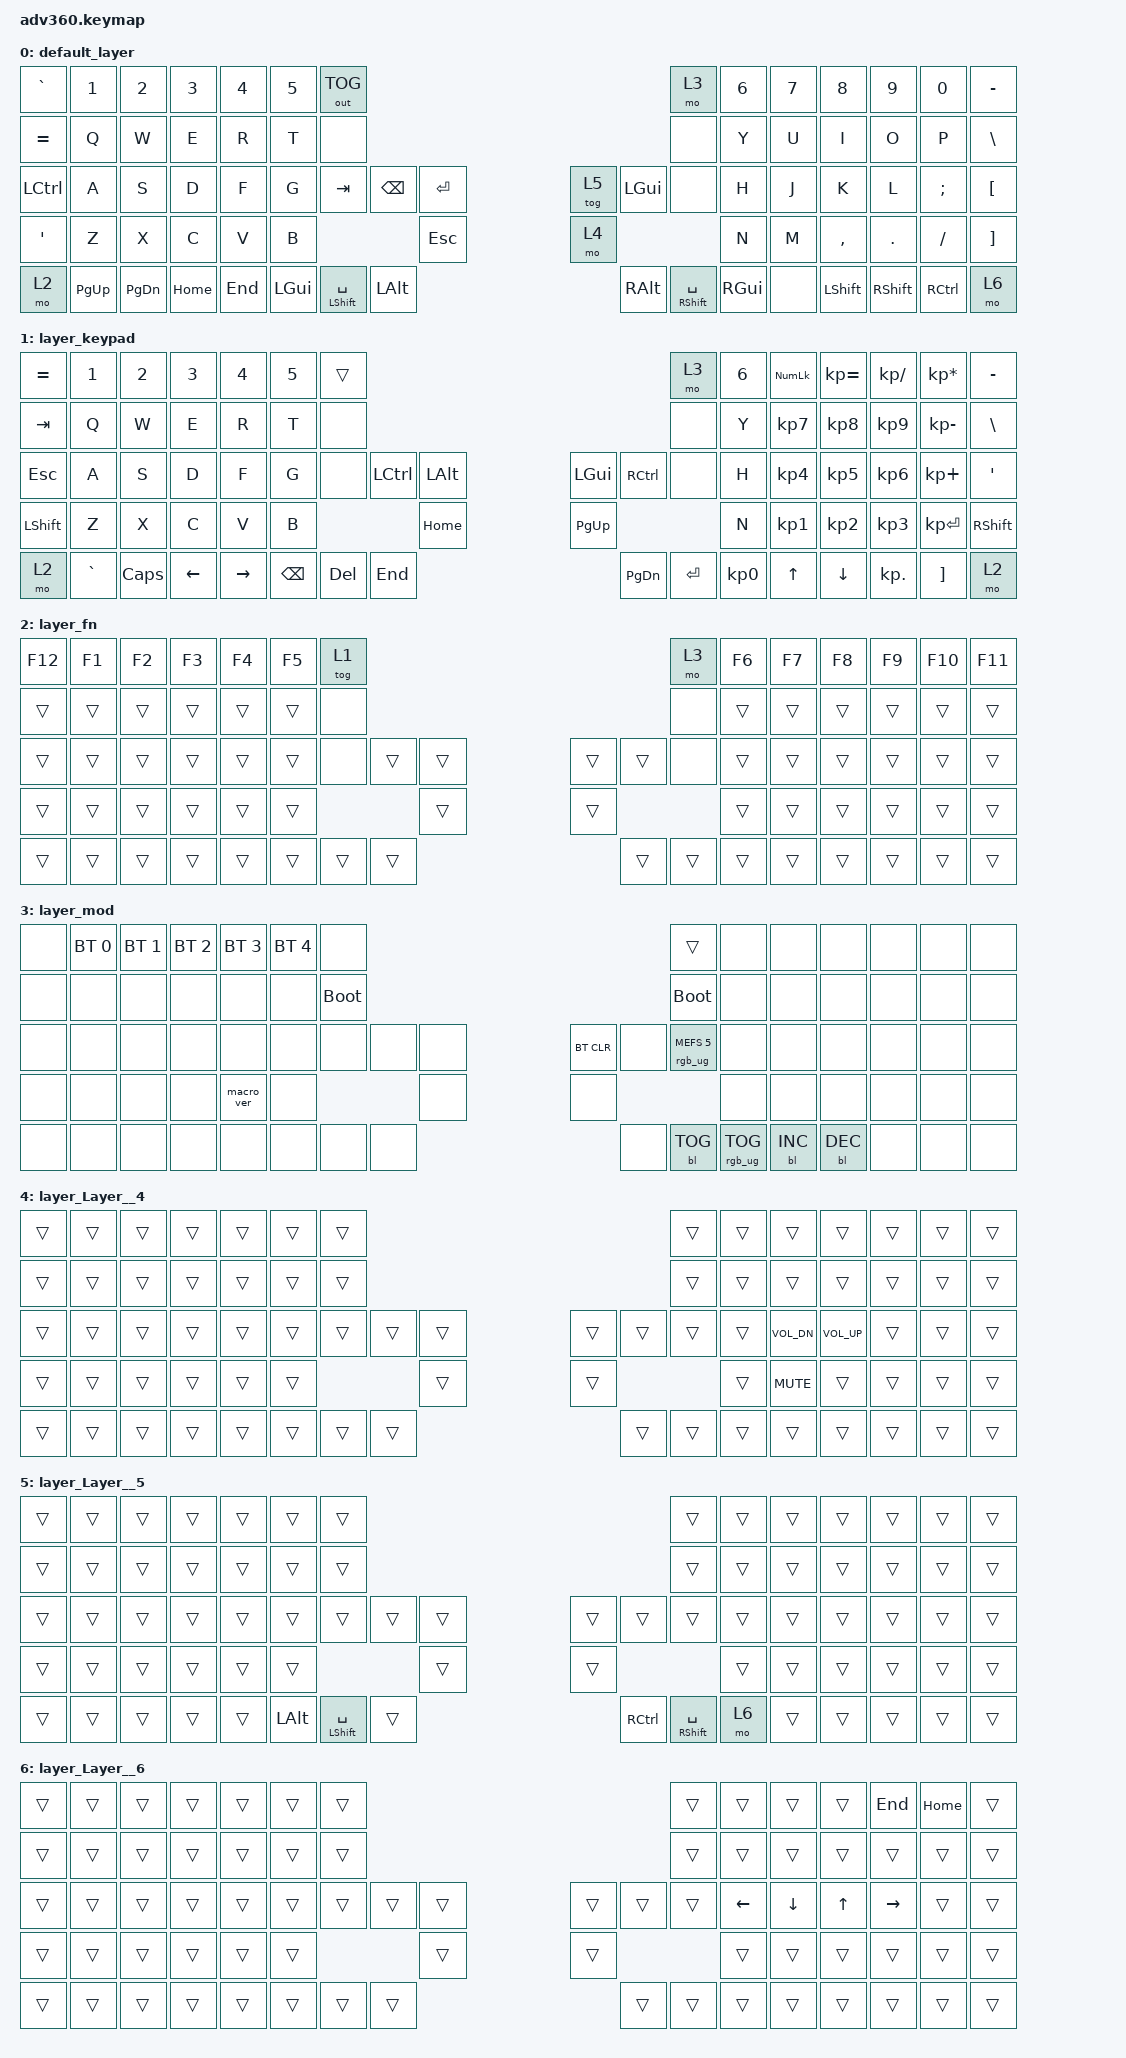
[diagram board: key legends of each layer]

/*
 * Copyright (c) 2020 The ZMK Contributors
 *
 * SPDX-License-Identifier: MIT
 */


/* THIS FILE WAS GENERATED!
 *
 * This file was generated automatically. You may or may not want to
 * edit it directly.
 */

#include <behaviors.dtsi>
#include <dt-bindings/zmk/keys.h>
#include <dt-bindings/zmk/outputs.h>
#include <dt-bindings/zmk/bt.h>
#include <dt-bindings/zmk/rgb.h>
#include <dt-bindings/zmk/backlight.h>

/ {
  behaviors {
    #include "macros.dtsi"
    #include "version.dtsi"

    hm: homerow_mods {
        compatible = "zmk,behavior-hold-tap";
        label = "HOMEROW_MODS";
        #binding-cells = <2>;
        tapping-term-ms = <200>;
        quick_tap_ms = <175>;
        flavor = "tap-preferred";
        bindings = <&kp>, <&kp>;
    };
  };

    keymap {
        compatible = "zmk,keymap";


        default_layer {
            bindings = <
        &kp GRAVE       &kp N1         &kp N2    &kp N3   &kp N4  &kp N5            &out OUT_TOG                                                                                        &mo 3  &kp N6  &kp N7          &kp N8           &kp N9             &kp N0          &kp MINUS
        &kp EQUAL        &kp Q          &kp W     &kp E    &kp R   &kp T                   &none                                                                                        &none   &kp Y   &kp U           &kp I            &kp O              &kp P      &kp BACKSLASH
 &kp LEFT_CONTROL        &kp A          &kp S     &kp D    &kp F   &kp G                 &kp TAB         &kp BACKSPACE   &kp ENTER                    &tog 5               &kp LGUI     &none   &kp H   &kp J           &kp K            &kp L           &kp SEMI   &kp LEFT_BRACKET
 &kp SINGLE_QUOTE        &kp Z          &kp X     &kp C    &kp V   &kp B                                                &kp ESCAPE                     &mo 4                                    &kp N   &kp M       &kp COMMA          &kp DOT           &kp FSLH  &kp RIGHT_BRACKET
            &mo 2  &kp PAGE_UP  &kp PAGE_DOWN  &kp HOME  &kp END                        &kp LGUI  &mt LEFT_SHIFT SPACE    &kp LALT                  &kp RALT  &mt RIGHT_SHIFT SPACE  &kp RGUI           &none  &kp LEFT_SHIFT  &kp RIGHT_SHIFT  &kp RIGHT_CONTROL              &mo 6
            >;
        };

        layer_keypad {
            bindings = <
 &kp EQUAL     &kp N1    &kp N2    &kp N3     &kp N4  &kp N5              &trans                                                                 &mo 3  &kp N6  &kp KP_NUM  &kp KP_EQUAL  &kp KP_DIVIDE  &kp KP_MULTIPLY  &kp MINUS
   &kp TAB      &kp Q     &kp W     &kp E      &kp R   &kp T               &none                                                                 &none   &kp Y   &kp KP_N7     &kp KP_N8      &kp KP_N9     &kp KP_MINUS   &kp BSLH
   &kp ESC      &kp A     &kp S     &kp D      &kp F   &kp G               &none  &kp LCTRL  &kp LALT                   &kp LGUI  &kp RCTRL      &none   &kp H   &kp KP_N4     &kp KP_N5      &kp KP_N6      &kp KP_PLUS    &kp SQT
 &kp LSHFT      &kp Z     &kp X     &kp C      &kp V   &kp B                                 &kp HOME                  &kp PG_UP                         &kp N   &kp KP_N1     &kp KP_N2      &kp KP_N3     &kp KP_ENTER  &kp RSHFT
     &mo 2  &kp GRAVE  &kp CAPS  &kp LEFT  &kp RIGHT                    &kp BSPC    &kp DEL   &kp END                  &kp PG_DN  &kp ENTER  &kp KP_N0              &kp UP      &kp DOWN     &kp KP_DOT         &kp RBKT      &mo 2
            >;
        };

        layer_fn {
            bindings = <
 &kp F12  &kp F1  &kp F2  &kp F3  &kp F4  &kp F5            &tog 1                                                   &mo 3  &kp F6  &kp F7  &kp F8  &kp F9  &kp F10  &kp F11
  &trans  &trans  &trans  &trans  &trans  &trans             &none                                                   &none  &trans  &trans  &trans  &trans   &trans   &trans
  &trans  &trans  &trans  &trans  &trans  &trans             &none  &trans  &trans                  &trans  &trans   &none  &trans  &trans  &trans  &trans   &trans   &trans
  &trans  &trans  &trans  &trans  &trans  &trans                            &trans                  &trans                  &trans  &trans  &trans  &trans   &trans   &trans
  &trans  &trans  &trans  &trans  &trans                    &trans  &trans  &trans                  &trans  &trans  &trans          &trans  &trans  &trans   &trans   &trans
            >;
        };

        layer_mod {
            bindings = <
  &none  &bt BT_SEL 0  &bt BT_SEL 1  &bt BT_SEL 2  &bt BT_SEL 3  &bt BT_SEL 4                  &none                                                                          &trans   &none       &none       &none   &none   &none   &none
  &none         &none         &none         &none         &none         &none            &bootloader                                                                     &bootloader   &none       &none       &none   &none   &none   &none
  &none         &none         &none         &none         &none         &none                  &none   &none   &none                  &bt BT_CLR       &none  &rgb_ug RGB_MEFS_CMD 5   &none       &none       &none   &none   &none   &none
  &none         &none         &none         &none    &macro_ver         &none                                  &none                       &none                                       &none       &none       &none   &none   &none   &none
  &none         &none         &none         &none         &none                                &none   &none   &none                       &none  &bl BL_TOG         &rgb_ug RGB_TOG          &bl BL_INC  &bl BL_DEC   &none   &none   &none
            >;
        };

        layer_Layer__4 {
            bindings = <
 &trans  &trans  &trans  &trans  &trans  &trans            &trans                                                  &trans  &trans        &trans        &trans  &trans  &trans  &trans
 &trans  &trans  &trans  &trans  &trans  &trans            &trans                                                  &trans  &trans        &trans        &trans  &trans  &trans  &trans
 &trans  &trans  &trans  &trans  &trans  &trans            &trans  &trans  &trans                  &trans  &trans  &trans  &trans  &kp C_VOL_DN  &kp C_VOL_UP  &trans  &trans  &trans
 &trans  &trans  &trans  &trans  &trans  &trans                            &trans                  &trans                  &trans    &kp C_MUTE        &trans  &trans  &trans  &trans
 &trans  &trans  &trans  &trans  &trans                    &trans  &trans  &trans                  &trans  &trans  &trans                &trans        &trans  &trans  &trans  &trans
            >;
        };

        layer_Layer__5 {
            bindings = <
 &trans  &trans  &trans  &trans  &trans  &trans              &trans                                                                                 &trans  &trans  &trans  &trans  &trans  &trans  &trans
 &trans  &trans  &trans  &trans  &trans  &trans              &trans                                                                                 &trans  &trans  &trans  &trans  &trans  &trans  &trans
 &trans  &trans  &trans  &trans  &trans  &trans              &trans            &trans  &trans                             &trans            &trans  &trans  &trans  &trans  &trans  &trans  &trans  &trans
 &trans  &trans  &trans  &trans  &trans  &trans                                        &trans                             &trans                            &trans  &trans  &trans  &trans  &trans  &trans
 &trans  &trans  &trans  &trans  &trans                    &kp LALT  &mt LSHIFT SPACE  &trans                  &kp RIGHT_CONTROL  &mt RSHIFT SPACE   &mo 6          &trans  &trans  &trans  &trans  &trans
            >;
        };

        layer_Layer__6 {
            bindings = <
 &trans  &trans  &trans  &trans  &trans  &trans            &trans                                                  &trans    &trans    &trans  &trans    &kp END  &kp HOME  &trans
 &trans  &trans  &trans  &trans  &trans  &trans            &trans                                                  &trans    &trans    &trans  &trans     &trans    &trans  &trans
 &trans  &trans  &trans  &trans  &trans  &trans            &trans  &trans  &trans                  &trans  &trans  &trans  &kp LEFT  &kp DOWN  &kp UP  &kp RIGHT    &trans  &trans
 &trans  &trans  &trans  &trans  &trans  &trans                            &trans                  &trans                    &trans    &trans  &trans     &trans    &trans  &trans
 &trans  &trans  &trans  &trans  &trans                    &trans  &trans  &trans                  &trans  &trans  &trans              &trans  &trans     &trans    &trans  &trans
            >;
        };

    };
};
